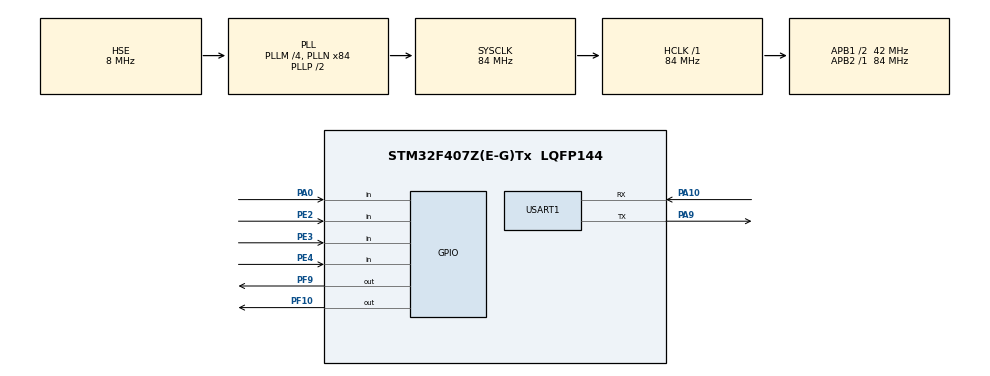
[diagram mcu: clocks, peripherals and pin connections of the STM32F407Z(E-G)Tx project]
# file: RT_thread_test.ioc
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Dma.Request0=USART1_RX
Dma.USART1_RX.0.Direction=DMA_PERIPH_TO_MEMORY
Dma.USART1_RX.0.FIFOMode=DMA_FIFOMODE_DISABLE
Dma.USART1_RX.0.Instance=DMA2_Stream2
Dma.USART1_RX.0.MemDataAlignment=DMA_MDATAALIGN_BYTE
Dma.USART1_RX.0.MemInc=DMA_MINC_ENABLE
Dma.USART1_RX.0.Mode=DMA_NORMAL
Dma.USART1_RX.0.PeriphDataAlignment=DMA_PDATAALIGN_BYTE
Dma.USART1_RX.0.PeriphInc=DMA_PINC_DISABLE
Dma.USART1_RX.0.Priority=DMA_PRIORITY_LOW
Mcu.Family=STM32F4
Mcu.Name=STM32F407Z(E-G)Tx
Mcu.Package=LQFP144
NVIC.DMA2_Stream2_IRQn=true\:0\:0\:false\:false\:true\:false\:true
NVIC.PriorityGroup=NVIC_PRIORITYGROUP_4
NVIC.TIM6_DAC_IRQn=true\:0\:0\:false\:false\:true\:true\:true
NVIC.USART1_IRQn=true\:0\:0\:false\:false\:true\:true\:true
PA0-WKUP.GPIO_PuPd=GPIO_PULLDOWN
PA0-WKUP.Signal=GPIO_Input
PA10.Mode=Asynchronous
PA10.Signal=USART1_RX
PA9.Mode=Asynchronous
PA9.Signal=USART1_TX
PC14-OSC32_IN.Mode=LSE-External-Oscillator
PC14-OSC32_IN.Signal=RCC_OSC32_IN
PC15-OSC32_OUT.Mode=LSE-External-Oscillator
PC15-OSC32_OUT.Signal=RCC_OSC32_OUT
PE2.GPIO_PuPd=GPIO_PULLUP
PE2.Signal=GPIO_Input
PE3.GPIO_PuPd=GPIO_PULLUP
PE3.Signal=GPIO_Input
PE4.GPIO_PuPd=GPIO_PULLUP
PE4.Signal=GPIO_Input
PF10.GPIO_PuPd=GPIO_PULLUP
PF10.GPIO_Speed=GPIO_SPEED_FREQ_HIGH
PF10.PinState=GPIO_PIN_SET
PF10.Signal=GPIO_Output
PF9.GPIO_PuPd=GPIO_PULLUP
PF9.GPIO_Speed=GPIO_SPEED_FREQ_HIGH
PF9.PinState=GPIO_PIN_SET
PF9.Signal=GPIO_Output
PH0-OSC_IN.Mode=HSE-External-Oscillator
PH0-OSC_IN.Signal=RCC_OSC_IN
PH1-OSC_OUT.Mode=HSE-External-Oscillator
PH1-OSC_OUT.Signal=RCC_OSC_OUT
ProjectManager.HeapSize=0x200
ProjectManager.StackSize=0x400
ProjectManager.TargetToolchain=MDK-ARM V5
RCC.48MHZClocksFreq_Value=42000000
RCC.AHBFreq_Value=84000000
RCC.APB1CLKDivider=RCC_HCLK_DIV2
RCC.APB1Freq_Value=42000000
RCC.APB1TimFreq_Value=84000000
RCC.APB2Freq_Value=84000000
RCC.APB2TimFreq_Value=84000000
RCC.CortexFreq_Value=84000000
RCC.HCLKFreq_Value=84000000
RCC.HSE_VALUE=8000000
RCC.HSI_VALUE=16000000
RCC.PLLM=4
RCC.PLLN=84
RCC.PLLSourceVirtual=RCC_PLLSOURCE_HSE
RCC.SYSCLKFreq_VALUE=84000000
RCC.SYSCLKSource=RCC_SYSCLKSOURCE_PLLCLK
RCC.VCOOutputFreq_Value=168000000
TIM6.AutoReloadPreload=TIM_AUTORELOAD_PRELOAD_ENABLE
TIM6.Period=999
TIM6.Prescaler=83
USART1.VirtualMode=VM_ASYNC
VP_TIM6_VS_ClockSourceINT.Mode=Enable_Timer
board=custom

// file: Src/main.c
/* USER CODE BEGIN Header */
/**
  ******************************************************************************
  * @file           : main.c
  * @brief          : Main program body
  ******************************************************************************
  * @attention
  *
  * <h2><center>&copy; Copyright (c) 2019 STMicroelectronics.
  * All rights reserved.</center></h2>
  *
  * This software component is licensed by ST under BSD 3-Clause license,
  * the "License"; You may not use this file except in compliance with the
  * License. You may obtain a copy of the License at:
  *                        opensource.org/licenses/BSD-3-Clause
  *
  ******************************************************************************
  */
/* USER CODE END Header */

#include "main.h"
#include "dma.h"
#include "tim.h"
#include "usart.h"
#include "gpio.h"

/* USER CODE BEGIN Includes */
#include "includes.h"
/* USER CODE END Includes */

/* USER CODE BEGIN PV */
/* 线程控制块 */
rt_thread_t LED0_Thread;
rt_thread_t LED1_Thread;
rt_thread_t Uart_Thread;
rt_thread_t Disp_Thread;
rt_thread_t KeyUp_Thread;
rt_thread_t Keyx_Thread;

/* 信号量控制块 */
rt_sem_t Uart_Sem;
rt_sem_t KeyUp_Sem;

/* 邮箱控制块 */
rt_mailbox_t Keyx_Mb;
/* USER CODE END PV */

void SystemClock_Config(void);
/* USER CODE BEGIN PFP */
void Board_Init(void);
void Create_Thread(void);
void Create_Object(void);
/* USER CODE END PFP */

int main(void)
{

  /* MCU Configuration--------------------------------------------------------*/

  /* Reset of all peripherals, Initializes the Flash interface and the Systick. */
  HAL_Init();

  /* Configure the system clock */
  SystemClock_Config();

  /* Initialize all configured peripherals */
  MX_GPIO_Init();
  MX_DMA_Init();
  MX_TIM6_Init();
  MX_USART1_UART_Init();
  /* USER CODE BEGIN 2 */
	Board_Init();
	Create_Thread();
	Create_Object();
	rt_thread_startup(LED0_Thread);
	rt_thread_startup(LED1_Thread);
	rt_thread_startup(Uart_Thread);
	rt_thread_startup(KeyUp_Thread);
	rt_thread_startup(Keyx_Thread);
	rt_thread_startup(Disp_Thread);
  /* USER CODE END 2 */

  /* Infinite loop */
  /* USER CODE BEGIN WHILE */
  while (1)
  {
		//TOG_LED(1);
		rt_thread_mdelay(100);
    /* USER CODE END WHILE */

  }
}

void SystemClock_Config(void)
{
  RCC_OscInitTypeDef RCC_OscInitStruct = {0};
  RCC_ClkInitTypeDef RCC_ClkInitStruct = {0};

  /** Configure the main internal regulator output voltage
  */
  __HAL_RCC_PWR_CLK_ENABLE();
  __HAL_PWR_VOLTAGESCALING_CONFIG(PWR_REGULATOR_VOLTAGE_SCALE1);
  /** Initializes the CPU, AHB and APB busses clocks
  */
  RCC_OscInitStruct.OscillatorType = RCC_OSCILLATORTYPE_HSE;
  RCC_OscInitStruct.HSEState = RCC_HSE_ON;
  RCC_OscInitStruct.PLL.PLLState = RCC_PLL_ON;
  RCC_OscInitStruct.PLL.PLLSource = RCC_PLLSOURCE_HSE;
  RCC_OscInitStruct.PLL.PLLM = 4;
  RCC_OscInitStruct.PLL.PLLN = 84;
  RCC_OscInitStruct.PLL.PLLP = RCC_PLLP_DIV2;
  RCC_OscInitStruct.PLL.PLLQ = 4;
  if (HAL_RCC_OscConfig(&RCC_OscInitStruct) != HAL_OK)
  {
    Error_Handler();
  }
  /** Initializes the CPU, AHB and APB busses clocks
  */
  RCC_ClkInitStruct.ClockType = RCC_CLOCKTYPE_HCLK|RCC_CLOCKTYPE_SYSCLK
                              |RCC_CLOCKTYPE_PCLK1|RCC_CLOCKTYPE_PCLK2;
  RCC_ClkInitStruct.SYSCLKSource = RCC_SYSCLKSOURCE_PLLCLK;
  RCC_ClkInitStruct.AHBCLKDivider = RCC_SYSCLK_DIV1;
  RCC_ClkInitStruct.APB1CLKDivider = RCC_HCLK_DIV2;
  RCC_ClkInitStruct.APB2CLKDivider = RCC_HCLK_DIV1;

  if (HAL_RCC_ClockConfig(&RCC_ClkInitStruct, FLASH_LATENCY_2) != HAL_OK)
  {
    Error_Handler();
  }
}

/* USER CODE BEGIN 4 */

void Board_Init(void)
{
	MY_UartRxStruct_Init();
}

void Create_Thread(void)
{
	LED0_Thread = rt_thread_create((const char*)"LED0",
																LED0_Thread_Func,
																0,
																(rt_uint32_t)128,
																(rt_uint8_t )6,
																(rt_uint32_t)100);

	LED1_Thread = rt_thread_create((const char*)"LED1",
																LED1_Thread_Func,
																0,
																(rt_uint32_t)128,
																(rt_uint8_t )5,
																(rt_uint32_t)100);

	Uart_Thread = rt_thread_create((const char*)"UART1",
																UART_Thread_Func,
																0,
																(rt_uint32_t)128,
																(rt_uint8_t )4,
																(rt_uint32_t)100);

	KeyUp_Thread = rt_thread_create((const char*)"KeyUp",
																KEYUP_Thread_Func,
																0,
																(rt_uint32_t)128,
																(rt_uint8_t )3,
																(rt_uint32_t)100);

	Keyx_Thread = rt_thread_create((const char*)"Keyx",
																KEYX_Thread_Func,
																0,
																(rt_uint32_t)128,
																(rt_uint8_t )2,
																(rt_uint32_t)100);

	Disp_Thread = rt_thread_create((const char*)"Display",
																Display_Thread_Func,
																0,
																(rt_uint32_t)128,
																(rt_uint8_t )7,
																(rt_uint32_t)100);
}

void Create_Object(void)
{
	Uart_Sem = rt_sem_create("UartSem",
													 0,
													 RT_IPC_FLAG_FIFO);

	KeyUp_Sem = rt_sem_create("KeyUpSem",
													  0,
													  RT_IPC_FLAG_FIFO);

	Keyx_Mb = rt_mb_create("KeyxMb",
												 10,
												 RT_IPC_FLAG_FIFO);
}

/* USER CODE END 4 */

void Error_Handler(void)
{
}

/************************ (C) COPYRIGHT STMicroelectronics *****END OF FILE****/
